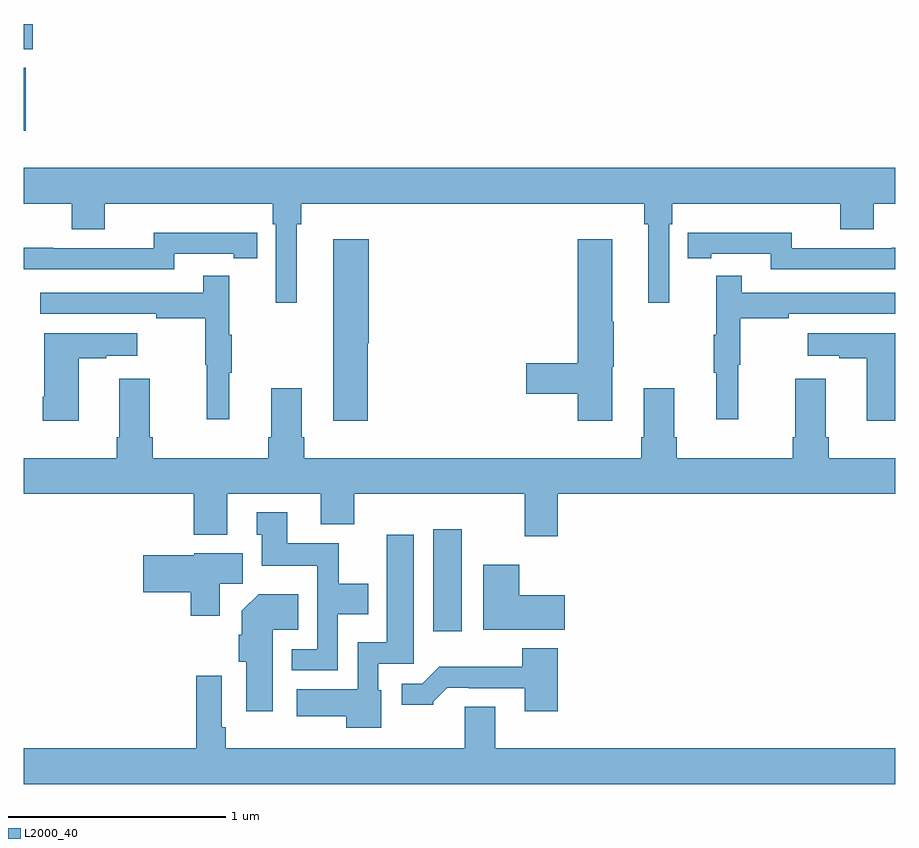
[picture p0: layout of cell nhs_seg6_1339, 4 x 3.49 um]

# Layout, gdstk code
import gdstk
lib = gdstk.Library(unit=1e-6, precision=1e-09)
def R(c, l, rs):  # rectangles x0, y0, x1, y1
    for r in rs: c.add(gdstk.rectangle(r[:2], r[2:], *l))
def P(c, l, *ps):  # polygons
    for p in ps: c.add(gdstk.Polygon(p, *l))
L2000_40 = (2000, 40)

nhs_seg6_1339 = lib.new_cell('nhs_seg6_1339')
R(nhs_seg6_1339, L2000_40, [(194.879,938.712,195.01,939.181), (193,941.01,193.01,941.299), (193,941.384,193.042,941.5)])
P(nhs_seg6_1339, L2000_40, [(194.254,940.58),(194.273,940.58),(194.273,940.676),(195.847,940.676),(195.847,940.58),(195.866,940.58),(195.866,940.221),(195.963,940.221),(195.963,940.58),(195.977,940.58),(195.977,940.676),(196.748,940.676),(196.748,940.559),(196.901,940.559),(196.901,940.676),(197,940.676),(197,940.84),(193,940.84),(193,940.676),(193.22,940.676),(193.22,940.559),(193.372,940.559),(193.372,940.676),(194.144,940.676),(194.144,940.58),(194.157,940.58),(194.157,940.221),(194.254,940.221)],
  [(193.692,940.446),(193.964,940.446),(193.964,940.426),(194.072,940.426),(194.072,940.542),(193.964,940.542),(193.964,940.543),(193.596,940.543),(193.596,940.47),(193.136,940.47),(193.136,940.472),(193,940.472),(193,940.374),(193.692,940.374)],
  [(197,940.472),(196.984,940.472),(196.984,940.47),(196.524,940.47),(196.524,940.543),(196.156,940.543),(196.156,940.542),(196.048,940.542),(196.048,940.426),(196.156,940.426),(196.156,940.446),(196.428,940.446),(196.428,940.374),(197,940.374)],
  [(194.579,940.035),(194.584,940.035),(194.584,940.513),(194.42,940.513),(194.42,939.678),(194.579,939.678)],
  [(195.7,939.927),(195.708,939.927),(195.708,940.133),(195.7,940.133),(195.7,940.513),(195.542,940.513),(195.542,939.944),(195.306,939.944),(195.306,939.802),(195.542,939.802),(195.542,939.678),(195.7,939.678)],
  [(193.943,939.899),(193.954,939.899),(193.954,940.073),(193.943,940.073),(193.943,940.345),(193.825,940.345),(193.825,940.266),(193.077,940.266),(193.077,940.17),(193.609,940.17),(193.609,940.15),(193.833,940.15),(193.833,939.936),(193.84,939.936),(193.84,939.687),(193.943,939.687)],
  [(196.28,939.936),(196.288,939.936),(196.288,940.15),(196.511,940.15),(196.511,940.17),(197,940.17),(197,940.266),(196.295,940.266),(196.295,940.345),(196.178,940.345),(196.178,940.073),(196.167,940.073),(196.167,939.899),(196.178,939.899),(196.178,939.687),(196.28,939.687)],
  [(197,940.081),(196.599,940.081),(196.599,939.977),(196.742,939.977),(196.742,939.967),(196.868,939.967),(196.868,939.678),(197,939.678)],
  [(193.252,939.967),(193.379,939.967),(193.379,939.977),(193.522,939.977),(193.522,940.081),(193.094,940.081),(193.094,939.79),(193.087,939.79),(193.087,939.678),(193.252,939.678)],
  [(195.452,939.344),(197,939.344),(197,939.508),(196.694,939.508),(196.694,939.604),(196.681,939.604),(196.681,939.871),(196.541,939.871),(196.541,939.604),(196.529,939.604),(196.529,939.508),(195.998,939.508),(195.998,939.604),(195.985,939.604),(195.985,939.829),(195.845,939.829),(195.845,939.604),(195.833,939.604),(195.833,939.508),(194.288,939.508),(194.288,939.604),(194.275,939.604),(194.275,939.829),(194.135,939.829),(194.135,939.604),(194.123,939.604),(194.123,939.508),(193.592,939.508),(193.592,939.604),(193.579,939.604),(193.579,939.871),(193.439,939.871),(193.439,939.604),(193.427,939.604),(193.427,939.508),(193,939.508),(193,939.344),(193.781,939.344),(193.781,939.155),(193.933,939.155),(193.933,939.344),(194.363,939.344),(194.363,939.203),(194.516,939.203),(194.516,939.344),(195.299,939.344),(195.299,939.15),(195.452,939.15)],
  [(194.442,938.792),(194.581,938.792),(194.581,938.932),(194.445,938.932),(194.445,939.118),(194.209,939.118),(194.209,939.259),(194.069,939.259),(194.069,939.156),(194.093,939.156),(194.093,939.014),(194.346,939.014),(194.346,938.631),(194.229,938.631),(194.229,938.535),(194.442,938.535)],
  [(194.641,938.442),(194.628,938.442),(194.628,938.565),(194.791,938.565),(194.791,939.157),(194.666,939.157),(194.666,938.662),(194.532,938.662),(194.532,938.446),(194.253,938.446),(194.253,938.324),(194.48,938.324),(194.48,938.27),(194.641,938.27)],
  [(193.9,938.932),(194.005,938.932),(194.005,939.07),(193.782,939.07),(193.782,939.061),(193.548,939.061),(193.548,938.891),(193.766,938.891),(193.766,938.784),(193.9,938.784)],
  [(195.484,938.878),(195.274,938.878),(195.274,939.019),(195.11,939.019),(195.11,938.72),(195.484,938.72)],
  [(194.143,938.72),(194.261,938.72),(194.261,938.884),(194.078,938.884),(194,938.806),(194,938.696),(193.988,938.696),(193.988,938.574),(194.021,938.574),(194.021,938.346),(194.143,938.346)],
  [(195.452,938.635),(195.287,938.635),(195.287,938.551),(194.908,938.551),(194.829,938.472),(194.736,938.472),(194.736,938.375),(194.88,938.375),(194.88,938.39),(194.944,938.454),(195.043,938.454),(195.043,938.451),(195.299,938.451),(195.299,938.346),(195.452,938.346)],
  [(197,938.176),(195.163,938.176),(195.163,938.366),(195.023,938.366),(195.023,938.176),(193.928,938.176),(193.928,938.272),(193.908,938.272),(193.908,938.509),(193.792,938.509),(193.792,938.176),(193,938.176),(193,938.012),(197,938.012)])

lib.write_gds('nhs_seg6_1339.gds')
